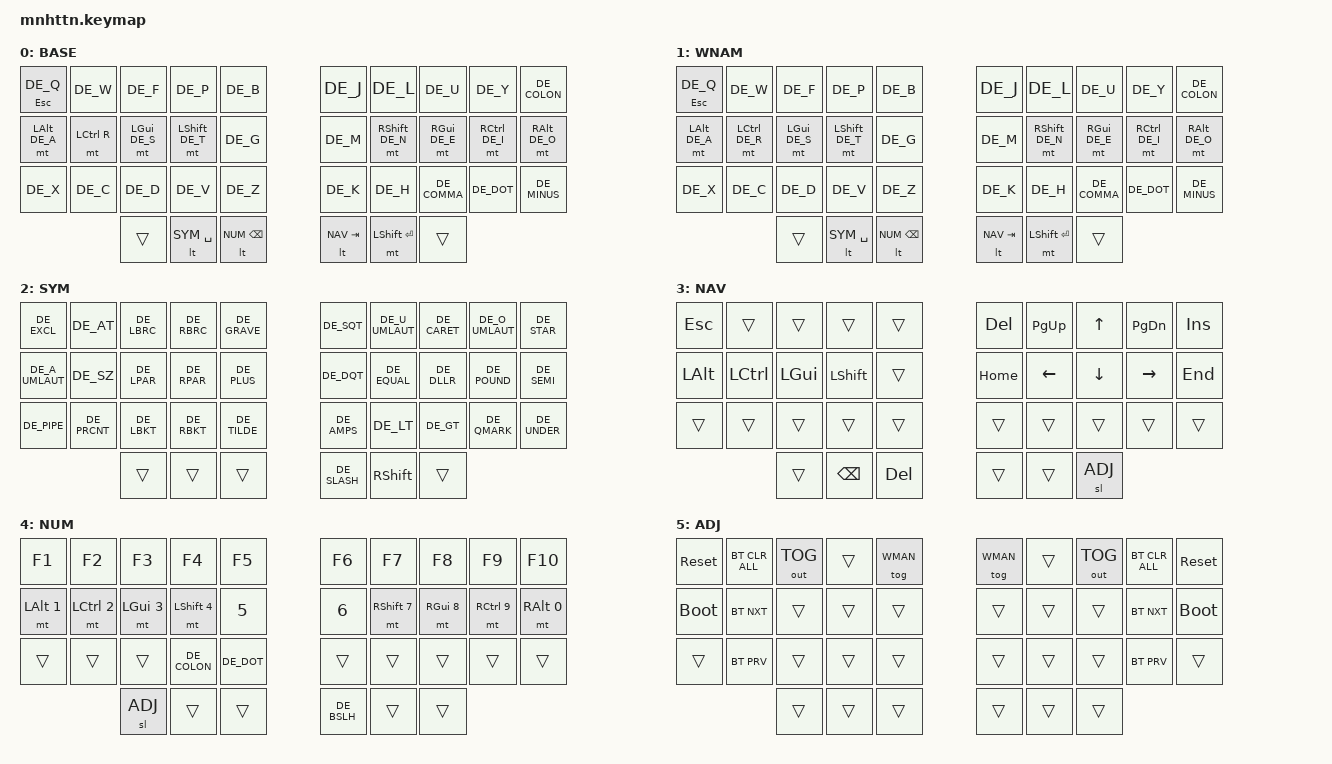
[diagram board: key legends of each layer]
#include <behaviors.dtsi>
#include <dt-bindings/zmk/keys.h>
#include <dt-bindings/zmk/bt.h>
#include <dt-bindings/zmk/outputs.h>

#include "keys_de.h"

#define BASE 0
#define WMAN 1
#define SYM  2
#define NAV  3
#define NUM  4
#define ADJ  5

/ {
    chosen {
      zmk,battery = &vbatt;
    };

    vbatt: vbatt {
        compatible = "zmk,battery-nrf-vddh";
    };

    behaviors {
        ht: hold_tap {
            compatible = "zmk,behavior-hold-tap";
            #binding-cells = <2>;
            flavor = "tap-preferred";
            tapping-term-ms = <200>;
            quick-tap-ms = <100>;
            bindings = <&kp>, <&kp>;
        };
        mt: mod_tap {
            compatible = "zmk,behavior-hold-tap";
            #binding-cells = <2>;
            quick-tap-ms = <100>;
            flavor = "balanced";
            tapping-term-ms = <170>;
        };
        lt: layer_tap {
            compatible = "zmk,behavior-hold-tap";
            #binding-cells = <2>;
            quick-tap-ms = <100>;
            flavor = "balanced";
            tapping-term-ms = <170>;
        };
    };

    keymap {
        compatible = "zmk,keymap";
        base_layer {
            label= "BASE";
            bindings = <
                &ht ESC DE_Q    &kp DE_W        &kp DE_F        &kp DE_P        &kp DE_B              &kp DE_J        &kp DE_L        &kp DE_U        &kp DE_Y        &kp DE_COLON
                &mt LALT DE_A   &mt LCTRL R     &mt LGUI DE_S   &mt LSHFT DE_T  &kp DE_G              &kp DE_M        &mt RSHFT DE_N  &mt RGUI DE_E   &mt RCTRL DE_I  &mt RALT DE_O
                &kp DE_X        &kp DE_C        &kp DE_D        &kp DE_V        &kp DE_Z              &kp DE_K        &kp DE_H        &kp DE_COMMA    &kp DE_DOT      &kp DE_MINUS
                                                &trans          &lt SYM SPACE   &lt NUM BSPC          &lt NAV TAB     &mt LSHFT RET   &trans
            >;
        };

        workman_layer {
            label= "WNAM";
            bindings = <
                &ht ESC DE_Q    &kp DE_W        &kp DE_F        &kp DE_P        &kp DE_B              &kp DE_J        &kp DE_L        &kp DE_U        &kp DE_Y        &kp DE_COLON
                &mt LALT DE_A   &mt LCTRL DE_R  &mt LGUI DE_S   &mt LSHFT DE_T  &kp DE_G              &kp DE_M        &mt RSHFT DE_N  &mt RGUI DE_E   &mt RCTRL DE_I  &mt RALT DE_O
                &kp DE_X        &kp DE_C        &kp DE_D        &kp DE_V        &kp DE_Z              &kp DE_K        &kp DE_H        &kp DE_COMMA    &kp DE_DOT      &kp DE_MINUS
                                                &trans          &lt SYM SPACE   &lt NUM BSPC          &lt NAV TAB     &mt LSHFT RET   &trans
            >;
        };

        sim_layer {
            label= "SYM";
            bindings = <
                &kp DE_EXCL     &kp DE_AT       &kp DE_LBRC     &kp DE_RBRC     &kp DE_GRAVE          &kp DE_SQT      &kp DE_U_UMLAUT &kp DE_CARET    &kp DE_O_UMLAUT &kp DE_STAR
                &kp DE_A_UMLAUT &kp DE_SZ       &kp DE_LPAR     &kp DE_RPAR     &kp DE_PLUS           &kp DE_DQT      &kp DE_EQUAL    &kp DE_DLLR     &kp DE_POUND    &kp DE_SEMI
                &kp DE_PIPE     &kp DE_PRCNT    &kp DE_LBKT     &kp DE_RBKT     &kp DE_TILDE          &kp DE_AMPS     &kp DE_LT       &kp DE_GT       &kp DE_QMARK    &kp DE_UNDER
                                                &trans          &trans          &trans                &kp DE_SLASH    &kp RSHFT       &trans
            >;
        };

        nav_layer {
            label= "NAV";
	          bindings = <
                &kp ESC         &trans          &trans          &trans          &trans                &kp DEL         &kp PG_UP       &kp UP          &kp PG_DN       &kp INS
                &kp LALT        &kp LCTRL       &kp LGUI        &kp LSHFT       &trans                &kp HOME        &kp LEFT        &kp DOWN        &kp RIGHT       &kp END
                &trans          &trans          &trans          &trans          &trans                &trans          &trans          &trans          &trans          &trans
                                                &trans          &kp BSPC        &kp DEL               &trans          &trans          &sl ADJ
            >;
        };

        num_layer {
            label= "NUM";
	          bindings = <
                &kp F1          &kp F2          &kp F3          &kp F4          &kp F5                &kp F6          &kp F7          &kp F8          &kp F9          &kp F10
                &mt LALT N1     &mt LCTRL N2    &mt LGUI N3     &mt LSHFT N4    &kp N5                &kp N6          &mt RSHFT N7    &mt RGUI N8     &mt RCTRL N9    &mt RALT N0
                &trans          &trans          &trans          &kp DE_COLON    &kp DE_DOT            &trans          &trans          &trans          &trans          &trans
                                                &sl ADJ         &trans          &trans                &kp DE_BSLH     &trans          &trans
            >;
        };

        adjust_layer {
            label= "ADJ";
	          bindings = <
                &sys_reset      &bt BT_CLR_ALL  &out OUT_TOG    &trans          &tog WMAN             &tog WMAN       &trans          &out OUT_TOG    &bt BT_CLR_ALL  &sys_reset
                &bootloader     &bt BT_NXT      &trans          &trans          &trans                &trans          &trans          &trans          &bt BT_NXT      &bootloader
                &trans          &bt BT_PRV      &trans          &trans          &trans                &trans          &trans          &trans          &bt BT_PRV      &trans
                                                &trans          &trans          &trans                &trans          &trans          &trans
            >;
        };
    };
};
